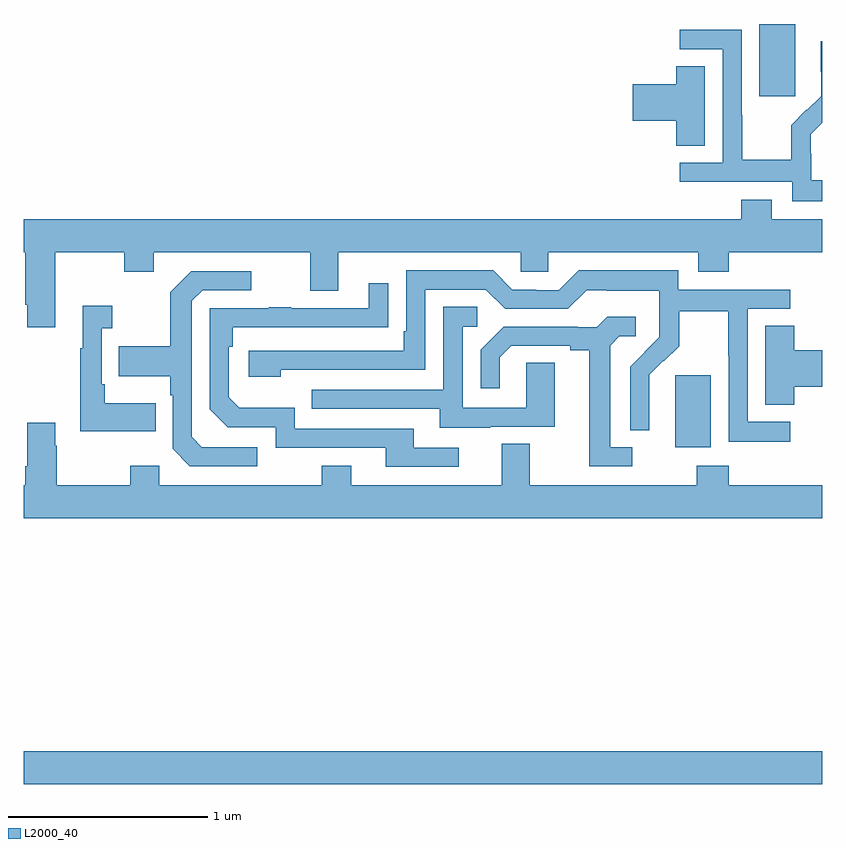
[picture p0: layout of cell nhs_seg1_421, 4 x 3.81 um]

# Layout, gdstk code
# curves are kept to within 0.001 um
import gdstk
lib = gdstk.Library(unit=1e-6, precision=1e-09)
def R(c, l, rs):  # rectangles x0, y0, x1, y1
    for r in rs: c.add(gdstk.rectangle(r[:2], r[2:], *l))
def P(c, l, *ps):  # polygons
    for p in ps: c.add(gdstk.Polygon(p, *l))
L2000_40 = (2000, 40)

nhs_seg1_421 = lib.new_cell('nhs_seg1_421')
R(nhs_seg1_421, L2000_40, [(133,578.372,137,578.536), (136.262,580.058,136.441,580.419), (136.685,581.817,136.864,582.178)])
P(nhs_seg1_421, L2000_40, [(137,581.395),(136.944,581.395),(136.944,581.529),(136.942,581.529),(136.942,581.626),(137,581.684),(137,582.092),(136.992,582.092),(136.992,581.938),(136.994,581.938),(136.994,581.816),(136.923,581.745),(136.92,581.748),(136.843,581.671),(136.843,581.497),(136.599,581.497),(136.599,581.72),(136.596,581.72),(136.596,582.15),(136.287,582.15),(136.287,582.051),(136.5,582.051),(136.5,581.484),(136.287,581.484),(136.287,581.388),(136.848,581.388),(136.848,581.291),(137,581.291)],
  [(136.411,581.966),(136.268,581.966),(136.268,581.876),(136.05,581.876),(136.05,581.693),(136.268,581.693),(136.268,581.569),(136.411,581.569)],
  [(133.159,581.036),(133.504,581.036),(133.504,580.937),(133.651,580.937),(133.651,581.036),(134.435,581.036),(134.435,580.842),(134.575,580.842),(134.575,581.036),(135.489,581.036),(135.489,580.938),(135.627,580.938),(135.627,581.036),(136.379,581.036),(136.379,580.937),(136.532,580.937),(136.532,581.036),(137,581.036),(137,581.2),(136.747,581.2),(136.747,581.299),(136.595,581.299),(136.595,581.2),(133,581.2),(133,581.036),(133.007,581.036),(133.007,580.771),(133.019,580.771),(133.019,580.659),(133.159,580.659)],
  [(136.84,580.185),(136.626,580.185),(136.626,580.752),(136.84,580.752),(136.84,580.848),(136.278,580.848),(136.278,580.945),(135.781,580.945),(135.681,580.845),(135.566,580.845),(135.566,580.848),(135.447,580.848),(135.351,580.944),(134.916,580.944),(134.916,580.639),(134.903,580.639),(134.903,580.542),(134.127,580.542),(134.127,580.412),(134.288,580.412),(134.288,580.446),(135.012,580.446),(135.012,580.848),(135.315,580.848),(135.411,580.752),(135.726,580.752),(135.819,580.845),(135.919,580.845),(135.919,580.841),(136.182,580.841),(136.182,580.707),(136.184,580.707),(136.184,580.61),(136.038,580.462),(136.038,580.144),(136.134,580.144),(136.133,580.421),(136.203,580.491),(136.206,580.488),(136.283,580.565),(136.283,580.74),(136.528,580.74),(136.528,580.516),(136.53,580.516),(136.53,580.087),(136.84,580.087)],
  [(134.17,580.059),(133.893,580.059),(133.842,580.11),(133.842,580.791),(133.896,580.845),(134.14,580.845),(134.14,580.941),(133.839,580.941),(133.734,580.835),(133.734,580.563),(133.477,580.563),(133.477,580.415),(133.734,580.415),(133.734,580.319),(133.746,580.319),(133.746,580.05),(133.833,579.963),(134.17,579.963)],
  [(135.178,580.056),(134.953,580.056),(134.953,580.152),(134.358,580.152),(134.358,580.255),(134.081,580.255),(134.028,580.308),(134.028,580.562),(134.048,580.562),(134.048,580.659),(134.825,580.66),(134.825,580.879),(134.729,580.879),(134.729,580.755),(134.339,580.755),(134.339,580.76),(134.227,580.76),(134.227,580.755),(133.932,580.755),(133.932,580.248),(134.022,580.158),(134.262,580.158),(134.262,580.056),(134.813,580.056),(134.813,579.96),(135.178,579.96)],
  [(133.661,580.279),(133.405,580.279),(133.405,580.375),(133.392,580.375),(133.392,580.655),(133.444,580.655),(133.444,580.768),(133.295,580.768),(133.295,580.555),(133.284,580.555),(133.284,580.139),(133.661,580.139)],
  [(135.337,580.161),(135.661,580.161),(135.661,580.481),(135.516,580.481),(135.516,580.257),(135.198,580.257),(135.198,580.662),(135.271,580.662),(135.271,580.763),(135.102,580.763),(135.102,580.347),(134.443,580.347),(134.443,580.251),(135.083,580.251),(135.083,580.157),(135.337,580.157)],
  [(136.048,580.059),(135.937,580.059),(135.937,580.567),(135.984,580.614),(136.066,580.614),(136.066,580.711),(135.922,580.711),(135.87,580.659),(135.776,580.659),(135.776,580.662),(135.404,580.662),(135.288,580.546),(135.288,580.353),(135.385,580.353),(135.385,580.509),(135.442,580.566),(135.737,580.566),(135.737,580.544),(135.833,580.544),(135.833,579.963),(136.048,579.963)],
  [(136.859,580.361),(137,580.361),(137,580.544),(136.859,580.544),(136.859,580.667),(136.715,580.667),(136.715,580.27),(136.859,580.27)],
  [(137,579.868),(136.532,579.868),(136.532,579.967),(136.372,579.967),(136.372,579.868),(135.535,579.868),(135.535,580.076),(135.395,580.076),(135.395,579.868),(134.641,579.868),(134.641,579.967),(134.494,579.967),(134.494,579.868),(133.68,579.868),(133.68,579.967),(133.534,579.967),(133.534,579.868),(133.167,579.868),(133.167,580.067),(133.159,580.067),(133.159,580.18),(133.019,580.18),(133.019,579.964),(133.007,579.964),(133.007,579.868),(133,579.868),(133,579.704),(137,579.704)])

lib.write_gds('nhs_seg1_421.gds')
